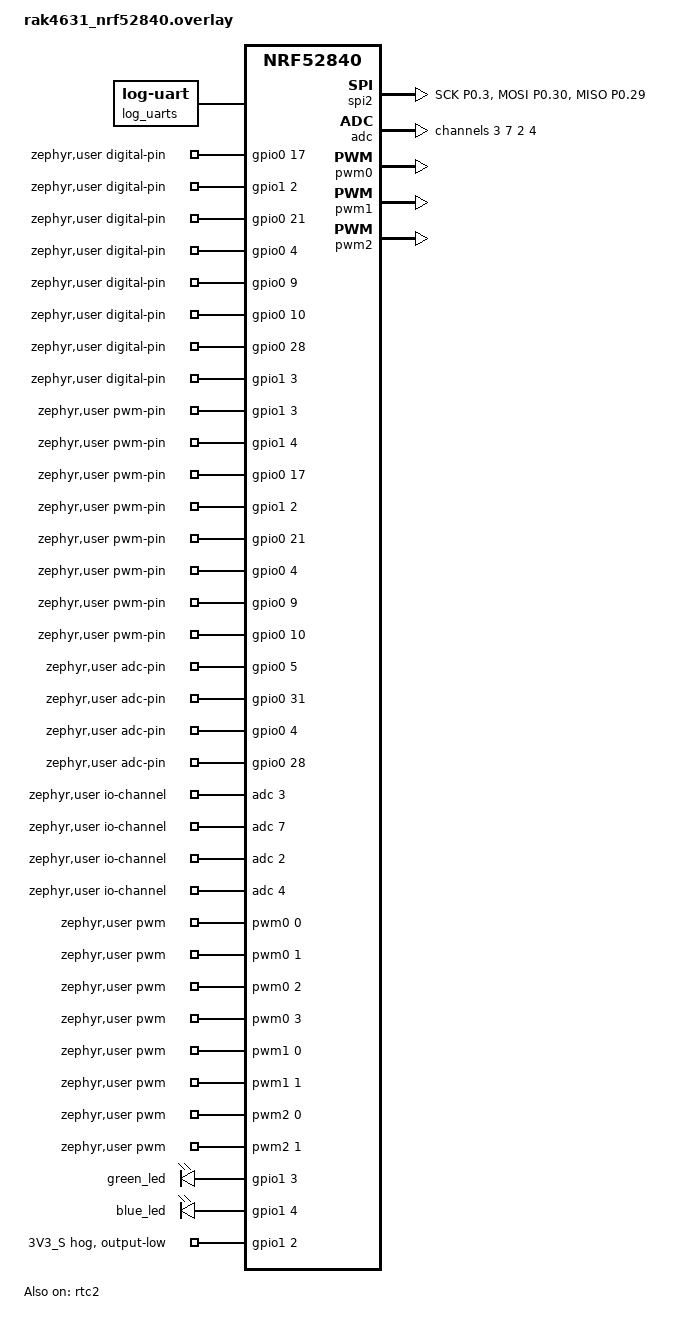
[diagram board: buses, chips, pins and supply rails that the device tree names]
/*
 * Copyright (c) 2026 RAKwireless Technology Limited
 * Author: sercan.erat@rakwireless.com
 * SPDX-License-Identifier: Apache-2.0
 */

/* Flash layout, shared with the MCUboot image as well. */
#include "rak4631_nrf52840_partitions.dtsi"
/* Boot-mode retention area, shared with the MCUboot image as well. */
#include "rak4631_nrf52840_bootmode.dtsi"

/ {
	chosen {
		zephyr,console = &board_cdc_acm_logging;
		zephyr,log-uart = &log_uarts;
		zephyr,shell-uart = &board_cdc_acm_shell;
		zephyr,code-partition = &code_partition;
		/delete-property/ zephyr,uart-mcumgr;
	};

	aliases {
		/* LED_BUILTIN resolves to the green LED (D7). */
		led0 = &green_led;
	};

	log_uarts: log_uarts {
		compatible = "zephyr,log-uart";
		uarts = <&board_cdc_acm_logging>;
	};
};

/*
 * USB CDC-ACM ports, in enumeration order:
 *  1. sketch:  the sketch's 'Serial' (SerialUSB)
 *  2. shell:   Zephyr shell (debug builds only, unused otherwise)
 *  3. logging: console (printk/stdout msg) + log backend (debug builds only, unused otherwise)
 */
&zephyr_udc0 {
	board_cdc_acm_sketch: board_cdc_acm_sketch {
		compatible = "zephyr,cdc-acm-uart";
		status = "okay";
	};

	board_cdc_acm_shell: board_cdc_acm_shell {
		compatible = "zephyr,cdc-acm-uart";
		status = "okay";
	};

	board_cdc_acm_logging: board_cdc_acm_logging {
		compatible = "zephyr,cdc-acm-uart";
		status = "okay";
	};

	num-bidir-endpoints = <1>;
	num-in-endpoints = <6>;
	num-out-endpoints = <3>;
	num-isoin-endpoints = <0>;
	num-isoout-endpoints = <0>;
};

/*
 * The RAK4631 LEDs are active high: green on P1.03 (D7),
 * blue on P1.04 (D8). The base board declares them active low.
 */
&green_led {
	gpios = <&gpio1 3 GPIO_ACTIVE_HIGH>;
};

&blue_led {
	gpios = <&gpio1 4 GPIO_ACTIVE_HIGH>;
};

/*
 * WisBlock 3V3_S: IO2 (P1.02, WB_IO2 / D1)
 * IO2=1 on, IO2=0 off.
 */
&gpio1 {
	wb-3v3-s {
		gpio-hog;
		gpios = <2 GPIO_ACTIVE_HIGH>;
		output-low;
		line-name = "3V3_S";
	};
};

/* WB_IO5/WB_IO6 (P0.09/P0.10) are the NFC pins; use them as GPIOs. */
&nfct {
	status = "disabled";
};

&uicr {
	nfct-pins-as-gpios;
};

/* RTC backend for the Arduino RTC library */
&rtc2 {
	status = "okay";
};

/* Shares the TWI1/SPI1 instance with the SX1262 SPI; keep disabled. */
&i2c1 {
	status = "disabled";
};

/*
 * The board enables QSPI on P0.03/P0.30/P0.29/P0.28/P0.02/P0.26, but
 * these pins are repurposed as SPI2, A3/D6, the D11 CS GPIO and the
 * D13 LED3 GPIO.
 */
&qspi {
	status = "disabled";
	pinctrl-0 = <&qspi_default>;
	pinctrl-1 = <&qspi_sleep>;
	pinctrl-names = "default", "sleep";
};

/* WisBlock header SPI: SCK P0.03, MOSI P0.30, MISO P0.29 */
&spi2 {
	compatible = "nordic,nrf-spi";
	status = "okay";
	cs-gpios = <&gpio0 26 GPIO_ACTIVE_LOW>;
	pinctrl-0 = <&spi2_default>;
	pinctrl-1 = <&spi2_sleep>;
	pinctrl-names = "default", "sleep";
};

/* Arduino API pin mappings */
/ {
	zephyr,user {
		digital-pin-gpios = <&gpio0 17 0>,	/* D0 - WB_IO1 */
				    <&gpio1 2 0>,	/* D1 - WB_IO2 */
				    <&gpio0 21 0>,	/* D2 - WB_IO3 */
				    <&gpio0 4 0>,	/* D3 - WB_IO4 */
				    <&gpio0 9 0>,	/* D4 - WB_IO5 */
				    <&gpio0 10 0>,	/* D5 - WB_IO6 */
				    <&gpio0 28 0>,	/* D6 - WB_IO7 (AIN4) */
				    <&gpio1 3 0>,	/* D7 - green LED */
				    <&gpio1 4 0>,	/* D8 - blue LED */
				    <&gpio0 5 0>,	/* D9 - WB_A0 (AIN3) */
				    <&gpio0 31 0>,	/* D10 - WB_A1 (AIN7) */
				    <&gpio0 26 0>,	/* D11 - WB_SPI_CS */
				    <&gpio1 1 0>,	/* D12 - WB_SW1 */
				    <&gpio0 2 0>;	/* D13 - WB_LED3 */

		pwm-pin-gpios = <&gpio1 3 0>,	/* D7 - green LED */
				<&gpio1 4 0>,	/* D8 - blue LED */
				<&gpio0 17 0>,	/* D0 - WB_IO1 */
				<&gpio1 2 0>,	/* D1 - WB_IO2 */
				<&gpio0 21 0>,	/* D2 - WB_IO3 */
				<&gpio0 4 0>,	/* D3 - WB_IO4 */
				<&gpio0 9 0>,	/* D4 - WB_IO5 */
				<&gpio0 10 0>,	/* D5 - WB_IO6 */
				<&gpio0 28 0>;	/* D6 - WB_IO7 */

		/*
		 * WisBlock analog pins. On the RAK19007 base board, A0
		 * (WB_A0/AIN0) is also wired to the battery voltage
		 * divider (1.5 MOhm / 2.5 MOhm): VBAT = A0 * 5 / 3.
		 */
		adc-pin-gpios = <&gpio0 5 0>,	/* A0 - WB_A0 */
				<&gpio0 31 0>,	/* A1 - WB_A1 */
				<&gpio0 4 0>,	/* A2 - WB_IO4 (D3) */
				<&gpio0 28 0>;	/* A3 - WB_IO7 (D6) */

		/*
		 * The period cell is in nanoseconds. The PWM counter runs at
		 * 16 MHz, so one count is 62.5 ns and pwm_set_pulse_dt() turns
		 * both the period and the pulse into counts:
		 *
		 *   counts    = ns * 16000000 / 1000000000 = ns / 62.5
		 *   COUNTERTOP = 2000000 / 62.5 = 32000    (2 ms, 500 Hz)
		 *
		 * analogWrite(pin, v) asks for v/255 of the period, so:
		 *
		 *   pulse_ns  = v * period_ns / 255
		 *   COMPARE   = pulse_ns / 62.5
		 *   duty      = COMPARE / COUNTERTOP
		 *
		 * e.g. v = 64 -> 501960 ns -> COMPARE 8031 -> 25 %.
		 *
		 * COMPARE is a whole number, so the period must hold at least
		 * 255 counts (>= 16 us) for all 256 values of v to differ.
		 * 500 Hz has 32000 of them and stays well above flicker.
		 */
		pwms = <&pwm0 0 PWM_HZ(500) PWM_POLARITY_NORMAL>,
		       <&pwm0 1 PWM_HZ(500) PWM_POLARITY_NORMAL>,
		       <&pwm0 2 PWM_HZ(500) PWM_POLARITY_NORMAL>,
		       <&pwm0 3 PWM_HZ(500) PWM_POLARITY_NORMAL>,
		       <&pwm1 0 PWM_HZ(500) PWM_POLARITY_NORMAL>,
		       <&pwm1 1 PWM_HZ(500) PWM_POLARITY_NORMAL>,
		       <&pwm2 0 PWM_HZ(500) PWM_POLARITY_NORMAL>,
		       <&pwm2 1 PWM_HZ(500) PWM_POLARITY_NORMAL>,
		       <&pwm2 2 PWM_HZ(500) PWM_POLARITY_NORMAL>;

		io-channels = <&adc 3>,	/* A0 - WB_A0 (AIN3) */
			      <&adc 7>,	/* A1 - WB_A1 (AIN7) */
			      <&adc 2>,	/* A2 - WB_IO4 (AIN2) */
			      <&adc 4>;	/* A3 - WB_IO7 (AIN4) */

		i2cs = <&i2c0>;	/* 'Wire': WisBlock sensor I2C (SDA P0.13, SCL P0.14) */
		spis = <&spi2>;	/* 'SPI': WisBlock header SPI */

		cdc-acm-serial = <&board_cdc_acm_sketch>; /* 'Serial' object is managed by SerialUSB */
		serials = <&uart0>, <&uart1>;
	};
};

&adc {
	#address-cells = <1>;
	#size-cells = <0>;

	channel@3 {
		reg = <3>;
		zephyr,gain = "ADC_GAIN_1_6";
		zephyr,reference = "ADC_REF_INTERNAL";
		zephyr,acquisition-time = <ADC_ACQ_TIME_DEFAULT>;
		zephyr,input-positive = <NRF_SAADC_AIN3>; /* P0.05 - WB_A0 */
		zephyr,resolution = <10>;
	};

	channel@7 {
		reg = <7>;
		zephyr,gain = "ADC_GAIN_1_6";
		zephyr,reference = "ADC_REF_INTERNAL";
		zephyr,acquisition-time = <ADC_ACQ_TIME_DEFAULT>;
		zephyr,input-positive = <NRF_SAADC_AIN7>; /* P0.31 - WB_A1 */
		zephyr,resolution = <10>;
	};

	channel@2 {
		reg = <2>;
		zephyr,gain = "ADC_GAIN_1_6";
		zephyr,reference = "ADC_REF_INTERNAL";
		zephyr,acquisition-time = <ADC_ACQ_TIME_DEFAULT>;
		zephyr,input-positive = <NRF_SAADC_AIN2>; /* P0.04 - WB_IO4 */
		zephyr,resolution = <10>;
	};

	channel@4 {
		reg = <4>;
		zephyr,gain = "ADC_GAIN_1_6";
		zephyr,reference = "ADC_REF_INTERNAL";
		zephyr,acquisition-time = <ADC_ACQ_TIME_DEFAULT>;
		zephyr,input-positive = <NRF_SAADC_AIN4>; /* P0.28 - WB_IO7 */
		zephyr,resolution = <10>;
	};
};

&pwm0 {
	status = "okay";
	zephyr,deferred-init;
	pinctrl-0 = <&empty_default>;
	pinctrl-1 = <&pwm0_sleep>;
	pinctrl-2 = <&pwm0_default>;
	pinctrl-names = "default", "sleep", "arduino";
};

&pwm1 {
	status = "okay";
	zephyr,deferred-init;
	pinctrl-0 = <&empty_default>;
	pinctrl-1 = <&pwm1_sleep>;
	pinctrl-2 = <&pwm1_default>;
	pinctrl-names = "default", "sleep", "arduino";
};

&pwm2 {
	status = "okay";
	zephyr,deferred-init;
	pinctrl-0 = <&empty_default>;
	pinctrl-1 = <&pwm2_sleep>;
	pinctrl-2 = <&pwm2_default>;
	pinctrl-names = "default", "sleep", "arduino";
};

&pinctrl {
	empty_default: empty_default {
		group1 {
			psels = <>;
		};
	};

	pwm0_default: pwm0_default {
		group1 {
			psels = <NRF_PSEL(PWM_OUT0, 1, 3)>,
				<NRF_PSEL(PWM_OUT1, 1, 4)>,
				<NRF_PSEL(PWM_OUT2, 0, 17)>,
				<NRF_PSEL(PWM_OUT3, 1, 2)>;
		};
	};

	pwm0_sleep: pwm0_sleep {
		group1 {
			psels = <NRF_PSEL(PWM_OUT0, 1, 3)>,
				<NRF_PSEL(PWM_OUT1, 1, 4)>,
				<NRF_PSEL(PWM_OUT2, 0, 17)>,
				<NRF_PSEL(PWM_OUT3, 1, 2)>;
				low-power-enable;
		};
	};

	pwm1_default: pwm1_default {
		group1 {
			psels = <NRF_PSEL(PWM_OUT0, 0, 21)>,
				<NRF_PSEL(PWM_OUT1, 0, 4)>;
		};
	};

	pwm1_sleep: pwm1_sleep {
		group1 {
			psels = <NRF_PSEL(PWM_OUT0, 0, 21)>,
				<NRF_PSEL(PWM_OUT1, 0, 4)>;
				low-power-enable;
		};
	};

	pwm2_default: pwm2_default {
		group1 {
			psels = <NRF_PSEL(PWM_OUT0, 0, 9)>,
				<NRF_PSEL(PWM_OUT1, 0, 10)>,
				<NRF_PSEL(PWM_OUT2, 0, 28)>;
		};
	};

	pwm2_sleep: pwm2_sleep {
		group1 {
			psels = <NRF_PSEL(PWM_OUT0, 0, 9)>,
				<NRF_PSEL(PWM_OUT1, 0, 10)>,
				<NRF_PSEL(PWM_OUT2, 0, 28)>;
				low-power-enable;
		};
	};

	spi2_default: spi2_default {
		group1 {
			psels = <NRF_PSEL(SPIM_SCK, 0, 3)>,
				<NRF_PSEL(SPIM_MOSI, 0, 30)>,
				<NRF_PSEL(SPIM_MISO, 0, 29)>;
		};
	};

	spi2_sleep: spi2_sleep {
		group1 {
			psels = <NRF_PSEL(SPIM_SCK, 0, 3)>,
				<NRF_PSEL(SPIM_MOSI, 0, 30)>,
				<NRF_PSEL(SPIM_MISO, 0, 29)>;
			low-power-enable;
		};
	};

	qspi_default: qspi_default {
		group1 {
			psels = <NRF_PSEL(QSPI_SCK, 0, 3)>,
				<NRF_PSEL(QSPI_IO0, 0, 30)>,
				<NRF_PSEL(QSPI_IO1, 0, 29)>,
				<NRF_PSEL(QSPI_IO2, 0, 28)>,
				<NRF_PSEL(QSPI_IO3, 0, 2)>,
				<NRF_PSEL(QSPI_CSN, 0, 26)>;
		};
	};

	qspi_sleep: qspi_sleep {
		group1 {
			psels = <NRF_PSEL(QSPI_SCK, 0, 3)>,
				<NRF_PSEL(QSPI_IO0, 0, 30)>,
				<NRF_PSEL(QSPI_IO1, 0, 29)>,
				<NRF_PSEL(QSPI_IO2, 0, 28)>,
				<NRF_PSEL(QSPI_IO3, 0, 2)>,
				<NRF_PSEL(QSPI_CSN, 0, 26)>;
			low-power-enable;
		};
	};
};
